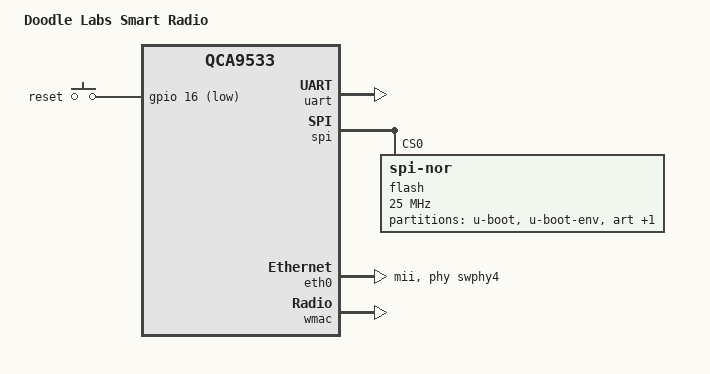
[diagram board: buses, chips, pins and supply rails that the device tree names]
// SPDX-License-Identifier: GPL-2.0-or-later
/dts-v1/;

#include "qca953x.dtsi"

#include <dt-bindings/gpio/gpio.h>
#include <dt-bindings/input/input.h>

/* Note: GPIO4 and GPIO15 are exported by stock f/w but their role is
 * unverified (likely RF front-end band-select for the frequency-shifted
 * variants). Left UNCONFIGURED on purpose - driving an unknown RF control
 * line could mis-set the front end. Add led/gpio nodes only after probing.
 */

/ {
	model = "Doodle Labs Smart Radio";
	compatible = "doodlelabs,smartradio", "qca,qca9533";

	aliases {
		serial0 = &uart;
		label-mac-device = &eth0;
	};

	keys {
		compatible = "gpio-keys";
		reset {
			label = "reset";
			linux,code = <KEY_RESTART>;
			/* GPIO_ACTIVE_LOW confirmed from 2025-06.5 firmware hotplug.d/button */
			gpios = <&gpio 16 GPIO_ACTIVE_LOW>;
			debounce-interval = <60>;
		};
	};
};

&uart {
	status = "okay";
};

&spi {
	status = "okay";

	flash@0 {
		compatible = "jedec,spi-nor";
		reg = <0>;
		spi-max-frequency = <25000000>;

		partitions {
			compatible = "fixed-partitions";
			#address-cells = <1>;
			#size-cells = <1>;

			/* Offsets MUST match stock u-boot (bootm 0x9f0c0000). */
			partition@0 {
				label = "u-boot";
				reg = <0x000000 0x040000>;
				read-only;
			};

			partition@40000 {
				label = "u-boot-env";
				reg = <0x040000 0x040000>;
			};

			art: partition@80000 {
				label = "art";
				reg = <0x080000 0x040000>;
				read-only;

				nvmem-layout {
					compatible = "fixed-layout";
					#address-cells = <1>;
					#size-cells = <1>;

					macaddr_art_0: macaddr@0 {
						reg = <0x0 0x6>;
					};

					cal_art_1000: calibration@1000 {
						reg = <0x1000 0x440>;
					};
				};
			};

			partition@c0000 {
				compatible = "denx,uimage";
				label = "firmware";
				reg = <0x0c0000 0x1f40000>;
			};
		};
	};
};

&eth0 {
	status = "okay";
	phy-mode = "mii";
	/* swphy4 = built-in switch CPU/uplink port */
	phy-handle = <&swphy4>;

	nvmem-cells = <&macaddr_art_0>;
	nvmem-cell-names = "mac-address";
};

&eth1 {
	nvmem-cells = <&macaddr_art_0>;
	nvmem-cell-names = "mac-address";
	mac-address-increment = <1>;
};

&wmac {
	status = "okay";

	nvmem-cells = <&cal_art_1000>, <&macaddr_art_0>;
	nvmem-cell-names = "calibration", "mac-address";
	mac-address-increment = <2>;
};
